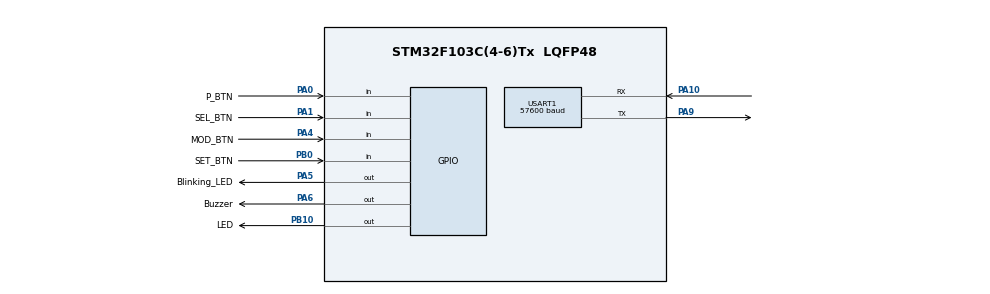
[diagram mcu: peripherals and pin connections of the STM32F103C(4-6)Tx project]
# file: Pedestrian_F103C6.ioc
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Mcu.Family=STM32F1
Mcu.Name=STM32F103C(4-6)Tx
Mcu.Package=LQFP48
NVIC.PriorityGroup=NVIC_PRIORITYGROUP_4
NVIC.TIM2_IRQn=true\:0\:0\:false\:false\:true\:true\:true\:true
NVIC.USART1_IRQn=true\:0\:0\:false\:false\:true\:true\:true\:true
PA0-WKUP.GPIO_Label=P_BTN
PA0-WKUP.GPIO_PuPd=GPIO_PULLUP
PA0-WKUP.Signal=GPIO_Input
PA1.GPIO_Label=SEL_BTN
PA1.GPIO_PuPd=GPIO_PULLUP
PA1.Signal=GPIO_Input
PA10.Mode=Asynchronous
PA10.Signal=USART1_RX
PA4.GPIO_Label=MOD_BTN
PA4.GPIO_PuPd=GPIO_PULLUP
PA4.Signal=GPIO_Input
PA5.GPIO_Label=Blinking_LED
PA5.Signal=GPIO_Output
PA6.GPIO_Label=Buzzer
PA6.Signal=GPIO_Output
PA9.Mode=Asynchronous
PA9.Signal=USART1_TX
PB0.GPIO_Label=SET_BTN
PB0.GPIO_PuPd=GPIO_PULLUP
PB0.Signal=GPIO_Input
PB10.GPIO_Label=LED
PB10.Signal=GPIO_Output
ProjectManager.HeapSize=0x200
ProjectManager.StackSize=0x400
ProjectManager.TargetToolchain=STM32CubeIDE
RCC.APB1Freq_Value=8000000
RCC.APB2Freq_Value=8000000
TIM2.Period=9
TIM2.Prescaler=7999
USART1.BaudRate=57600
USART1.VirtualMode=VM_ASYNC
VP_TIM2_VS_ClockSourceINT.Mode=Internal
board=custom

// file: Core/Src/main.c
/* USER CODE BEGIN Header */
/**
  ******************************************************************************
  * @file           : main.c
  * @brief          : Main program body
  ******************************************************************************
  * @attention
  *
  * Copyright (c) 2023 STMicroelectronics.
  * All rights reserved.
  *
  * This software is licensed under terms that can be found in the LICENSE file
  * in the root directory of this software component.
  * If no LICENSE file comes with this software, it is provided AS-IS.
  *
  ******************************************************************************
  */
/* USER CODE END Header */
#include "main.h"

/* USER CODE BEGIN Includes */
#include "scheduler.h"
#include "input_processing.h"
/* USER CODE END Includes */

TIM_HandleTypeDef htim2;

UART_HandleTypeDef huart1;

void SystemClock_Config(void);
static void MX_GPIO_Init(void);
static void MX_TIM2_Init(void);
static void MX_USART1_UART_Init(void);
/* USER CODE BEGIN PFP */
void readInputAndProcessing(void);
/* USER CODE END PFP */

int main(void)
{

  /* MCU Configuration--------------------------------------------------------*/

  /* Reset of all peripherals, Initializes the Flash interface and the Systick. */
  HAL_Init();

  /* Configure the system clock */
  SystemClock_Config();

  /* Initialize all configured peripherals */
  MX_GPIO_Init();
  MX_TIM2_Init();
  MX_USART1_UART_Init();
  /* USER CODE BEGIN 2 */
  HAL_TIM_Base_Start_IT(&htim2);

  inputProcessingInit(&huart1);

  SCH_Add_Task(runStateFSM, 0, 10);
  SCH_Add_Task(readInputAndProcessing, 10, 10);
  /* USER CODE END 2 */

  /* Infinite loop */
  /* USER CODE BEGIN WHILE */
  while (1)
  {
	  SCH_Dispatch_Tasks();
    /* USER CODE END WHILE */

  }
}

void SystemClock_Config(void)
{
  RCC_OscInitTypeDef RCC_OscInitStruct = {0};
  RCC_ClkInitTypeDef RCC_ClkInitStruct = {0};

  /** Initializes the RCC Oscillators according to the specified parameters
  * in the RCC_OscInitTypeDef structure.
  */
  RCC_OscInitStruct.OscillatorType = RCC_OSCILLATORTYPE_HSI;
  RCC_OscInitStruct.HSIState = RCC_HSI_ON;
  RCC_OscInitStruct.HSICalibrationValue = RCC_HSICALIBRATION_DEFAULT;
  RCC_OscInitStruct.PLL.PLLState = RCC_PLL_NONE;
  if (HAL_RCC_OscConfig(&RCC_OscInitStruct) != HAL_OK)
  {
    Error_Handler();
  }

  /** Initializes the CPU, AHB and APB buses clocks
  */
  RCC_ClkInitStruct.ClockType = RCC_CLOCKTYPE_HCLK|RCC_CLOCKTYPE_SYSCLK
                              |RCC_CLOCKTYPE_PCLK1|RCC_CLOCKTYPE_PCLK2;
  RCC_ClkInitStruct.SYSCLKSource = RCC_SYSCLKSOURCE_HSI;
  RCC_ClkInitStruct.AHBCLKDivider = RCC_SYSCLK_DIV1;
  RCC_ClkInitStruct.APB1CLKDivider = RCC_HCLK_DIV1;
  RCC_ClkInitStruct.APB2CLKDivider = RCC_HCLK_DIV1;

  if (HAL_RCC_ClockConfig(&RCC_ClkInitStruct, FLASH_LATENCY_0) != HAL_OK)
  {
    Error_Handler();
  }
}

static void MX_TIM2_Init(void)
{

  TIM_ClockConfigTypeDef sClockSourceConfig = {0};
  TIM_MasterConfigTypeDef sMasterConfig = {0};

  htim2.Instance = TIM2;
  htim2.Init.Prescaler = 7999;
  htim2.Init.CounterMode = TIM_COUNTERMODE_UP;
  htim2.Init.Period = 9;
  htim2.Init.ClockDivision = TIM_CLOCKDIVISION_DIV1;
  htim2.Init.AutoReloadPreload = TIM_AUTORELOAD_PRELOAD_DISABLE;
  if (HAL_TIM_Base_Init(&htim2) != HAL_OK)
  {
    Error_Handler();
  }
  sClockSourceConfig.ClockSource = TIM_CLOCKSOURCE_INTERNAL;
  if (HAL_TIM_ConfigClockSource(&htim2, &sClockSourceConfig) != HAL_OK)
  {
    Error_Handler();
  }
  sMasterConfig.MasterOutputTrigger = TIM_TRGO_RESET;
  sMasterConfig.MasterSlaveMode = TIM_MASTERSLAVEMODE_DISABLE;
  if (HAL_TIMEx_MasterConfigSynchronization(&htim2, &sMasterConfig) != HAL_OK)
  {
    Error_Handler();
  }

}

static void MX_USART1_UART_Init(void)
{

  huart1.Instance = USART1;
  huart1.Init.BaudRate = 57600;
  huart1.Init.WordLength = UART_WORDLENGTH_8B;
  huart1.Init.StopBits = UART_STOPBITS_1;
  huart1.Init.Parity = UART_PARITY_NONE;
  huart1.Init.Mode = UART_MODE_TX_RX;
  huart1.Init.HwFlowCtl = UART_HWCONTROL_NONE;
  huart1.Init.OverSampling = UART_OVERSAMPLING_16;
  if (HAL_UART_Init(&huart1) != HAL_OK)
  {
    Error_Handler();
  }

}

static void MX_GPIO_Init(void)
{
  GPIO_InitTypeDef GPIO_InitStruct = {0};

  /* GPIO Ports Clock Enable */
  __HAL_RCC_GPIOA_CLK_ENABLE();
  __HAL_RCC_GPIOB_CLK_ENABLE();

  /*Configure GPIO pin Output Level */
  HAL_GPIO_WritePin(GPIOA, Blinking_LED_Pin|Buzzer_Pin, GPIO_PIN_RESET);

  /*Configure GPIO pin Output Level */
  HAL_GPIO_WritePin(LED_GPIO_Port, LED_Pin, GPIO_PIN_RESET);

  /*Configure GPIO pins : P_BTN_Pin SEL_BTN_Pin MOD_BTN_Pin */
  GPIO_InitStruct.Pin = P_BTN_Pin|SEL_BTN_Pin|MOD_BTN_Pin;
  GPIO_InitStruct.Mode = GPIO_MODE_INPUT;
  GPIO_InitStruct.Pull = GPIO_PULLUP;
  HAL_GPIO_Init(GPIOA, &GPIO_InitStruct);

  /*Configure GPIO pins : Blinking_LED_Pin Buzzer_Pin */
  GPIO_InitStruct.Pin = Blinking_LED_Pin|Buzzer_Pin;
  GPIO_InitStruct.Mode = GPIO_MODE_OUTPUT_PP;
  GPIO_InitStruct.Pull = GPIO_NOPULL;
  GPIO_InitStruct.Speed = GPIO_SPEED_FREQ_LOW;
  HAL_GPIO_Init(GPIOA, &GPIO_InitStruct);

  /*Configure GPIO pin : SET_BTN_Pin */
  GPIO_InitStruct.Pin = SET_BTN_Pin;
  GPIO_InitStruct.Mode = GPIO_MODE_INPUT;
  GPIO_InitStruct.Pull = GPIO_PULLUP;
  HAL_GPIO_Init(SET_BTN_GPIO_Port, &GPIO_InitStruct);

  /*Configure GPIO pin : LED_Pin */
  GPIO_InitStruct.Pin = LED_Pin;
  GPIO_InitStruct.Mode = GPIO_MODE_OUTPUT_PP;
  GPIO_InitStruct.Pull = GPIO_NOPULL;
  GPIO_InitStruct.Speed = GPIO_SPEED_FREQ_LOW;
  HAL_GPIO_Init(LED_GPIO_Port, &GPIO_InitStruct);

}

/* USER CODE BEGIN 4 */
void HAL_TIM_PeriodElapsedCallback(TIM_HandleTypeDef * htim){
	SCH_Update();
}
void readInputAndProcessing(void){
	handleSetValueButton();
	handleModifyButton();
	handleSelectModeButton();
	handlePedestrianButton();
}
/* USER CODE END 4 */

void Error_Handler(void)
{
  __disable_irq();
  while (1)
  {
  }
}
